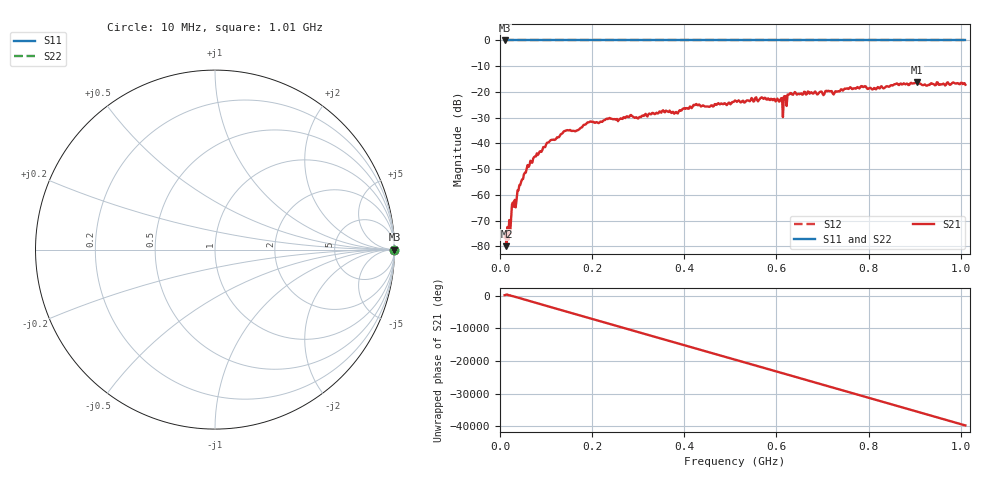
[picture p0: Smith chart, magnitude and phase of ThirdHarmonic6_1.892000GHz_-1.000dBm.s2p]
! 8/16/2025 10:50:53 PM
! C:\ANRITSUVNA\TEMP\TEMP.S2P
! CHANNEL.1
! TR.MEASUREMENT
! RAW.DATA
! RF.CORRECTION.OFF
! AVERAGING.OFF
! IF.BANDWIDTH: 5KHZ
! SWEEPTYPE:  FREQ.SWEEP(Linear)
! Reference Plane Port Info
! PORT:  PORT1  PORT2
! DISTANCE:  0  m  0  m
! TIME:  0  s  0  s
! PHASE.OFFSET:  0  deg.  0  deg.
! LOSS:  0  dB  0  dB
! REF.LOSS:  0  dB  0  dB
! REF.FREQ:  0  Hz  0  Hz
! Power Info
! POWER:  -20  dBm  -20  dBm
! EFF.POWER:  -20  dBm  -20  dBm
! SOURCE.ATTEN:  0  dB  0  dB
! TEST.ATTEN:  0  dB  0  dB
# GHZ S RI R 50.0
! FREQ.GHZ  S11RE  S11IM  S21RE  S21IM  S12RE  S12IM  S22RE  S22IM
!; PortSelection: Port_12
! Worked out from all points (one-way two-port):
!   501 points, 10 MHz to 1.01 GHz, reference 50 ohm
!   highest |S21| = -16.17 dB at 904 MHz (marker M1); lowest = -80.0 dB at 14 MHz (marker M2)
!   lowest |S11| = 0.0 dB at 10 MHz (marker M3)
!   |S11| at or under -10 dB: nowhere
!   |S22| runs from 0.0 to 0.0 dB; largest |S21 - S12| = 1.2
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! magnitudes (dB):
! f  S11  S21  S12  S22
! 10 MHz  0.0  -76.5  0.0  0.0
! 14 MHz  0.0  -80.0  0.0  0.0
! 18 MHz  0.0  -77.5  0.0  0.0
! 28 MHz  0.0  -63.0  0.0  0.0
! 62 MHz  0.0  -49.2  0.0  0.0
! 106 MHz  0.0  -39.5  0.0  0.0
! 142 MHz  0.0  -35.1  0.0  0.0
! 178 MHz  0.0  -33.8  0.0  0.0
! 194 MHz  0.0  -31.7  0.0  0.0
! 344 MHz  0.0  -28.2  0.0  0.0
! 382 MHz  0.0  -27.8  0.0  0.0
! 424 MHz  0.0  -24.9  0.0  0.0
! 510 MHz  0.0  -23.3  0.0  0.0
! 572 MHz  0.0  -22.7  0.0  0.0
! 608 MHz  0.0  -23.4  0.0  0.0
! 610 MHz  0.0  -22.4  0.0  0.0
! 618 MHz  0.0  -21.6  0.0  0.0
! 628 MHz  0.0  -20.9  0.0  0.0
! 678 MHz  0.0  -20.6  0.0  0.0
! 844 MHz  0.0  -18.0  0.0  0.0
! 904 MHz  0.0  -16.2  0.0  0.0
! 1.01 GHz  0.0  -17.2  0.0  0.0
